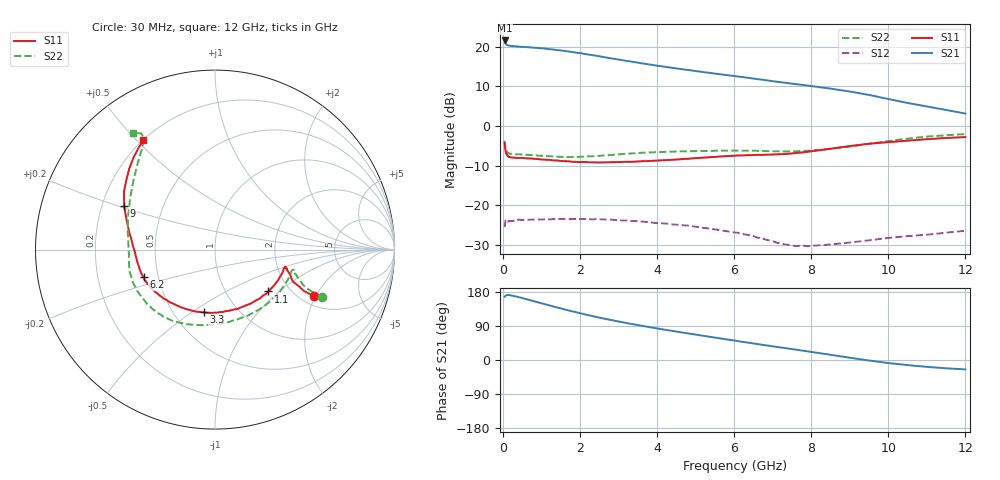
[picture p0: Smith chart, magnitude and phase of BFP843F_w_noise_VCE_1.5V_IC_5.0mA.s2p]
! Infineon Technologies  Discrete & RF Semiconductors
! BFP843F
! VCE =  1.5 V,  IC =  5.0 mA
! Common Emitter S-Parameters:  Aug 2013
# GHz  S  MA  R  50
!  f  S11  S21  S12  S22
! GHz  MAG  ANG  MAG  ANG  MAG  ANG  MAG  ANG
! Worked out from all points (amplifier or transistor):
!   103 points, 30 MHz to 12 GHz, reference 50 ohm
!   highest |S21| = 21.6 dB at 30 MHz (marker M1)
!   |S21| within 3 dB of that: start of sweep to 1.844 GHz
!   unconditionally stable (mu >= 1): 176.1 MHz to 536 MHz; 3.708 GHz to end of sweep
!   at 400 MHz: K = 1.00, MAG = 21.7 dB, |S12| = -23.6 dB
!   at 3.7 GHz: K = 1.00, MSG = 19.9 dB, |S12| = -24.1 dB
!   at 12 GHz: K = 1.48, MAG = 10.7 dB, |S12| = -26.4 dB
!   lowest NFmin = 0.82 dB at 450 MHz
!   S11 on the Smith chart (normalised r, x): 30 MHz: 2.34, -1.95; 1.1 GHz: 1.56, -0.85; 3.3 GHz: 0.70, -0.56; 6.2 GHz: 0.41, -0.16; 9 GHz: 0.29, +0.21; 12 GHz: 0.20, +0.52
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0.03  0.6123 -25.2  12.03 166.9  0.0533 34.0  0.6549 -23.9
0.04  0.5442 -24.9  11.46 167.4  0.0576 26.5  0.5859 -23.4
0.05  0.5078 -23.5  11.02 169.6  0.0632 19.5  0.5424 -22.5
0.07  0.4536 -20.5  10.71 170.6  0.0647 18.3  0.5007 -19.5
0.1  0.4262 -16.8  10.45 171.1  0.0633 14.1  0.4655 -16.8
0.15  0.4125 -14.7  10.34 171.3  0.0638 6.8  0.4519 -14.4
0.6  0.3923 -22.5  9.94 160.4  0.0659 1.2  0.4356 -25.9
1.1  0.3774 -38.1  9.463 146.6  0.0671 -1.4  0.4194 -45.2
1.6  0.3616 -54.0  8.857 133.2  0.0674 -4.4  0.4113 -65.0
2.1  0.3535 -69.3  8.144 120.7  0.0675 -7.3  0.4116 -83.7
2.7  0.3492 -85.5  7.282 107.4  0.0663 -11.5  0.4295 -101.9
3.3  0.3546 -100.4  6.54 95.7  0.0637 -15.1  0.452 -115.6
4.1  0.3706 -118.2  5.688 81.5  0.0598 -19.2  0.4716 -129.5
5.1  0.3975 -138.8  4.87 65.3  0.0531 -23.1  0.4848 -144.9
6.1  0.4273 -156.8  4.215 49.7  0.0452 -25.0  0.4916 -159.7
6.2  0.4268 -158.9  4.161 48.1  0.0437 -26.3  0.4913 -161.3
7.3  0.4451 -177.7  3.535 31.6  0.0324 -17.8  0.4805 -177.8
8.5  0.5194 161.5  2.971 13.7  0.0323 2.6  0.5174 159.3
9  0.5611 154.4  2.731 6.0  0.0341 8.2  0.5537 148.6
10  0.6288 141.7  2.197 -8.1  0.039 15.5  0.6487 131.4
10.5  0.6562 136.8  1.96 -13.4  0.0411 17.8  0.6966 125.6
12  0.7284 123.2  1.441 -24.8  0.048 23.9  0.7962 125.2
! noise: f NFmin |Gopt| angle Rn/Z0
0.45  0.82  0.16  11  0.06
0.9  0.84  0.16  21  0.06
1.5  0.9  0.16  29  0.07
1.9  0.95  0.15  45  0.07
2.4  0.99  0.15  57  0.08
3.5  1.06  0.17  86  0.13
5.5  1.18  0.17  152  0.19
10  1.9  0.38  -124  0.23
